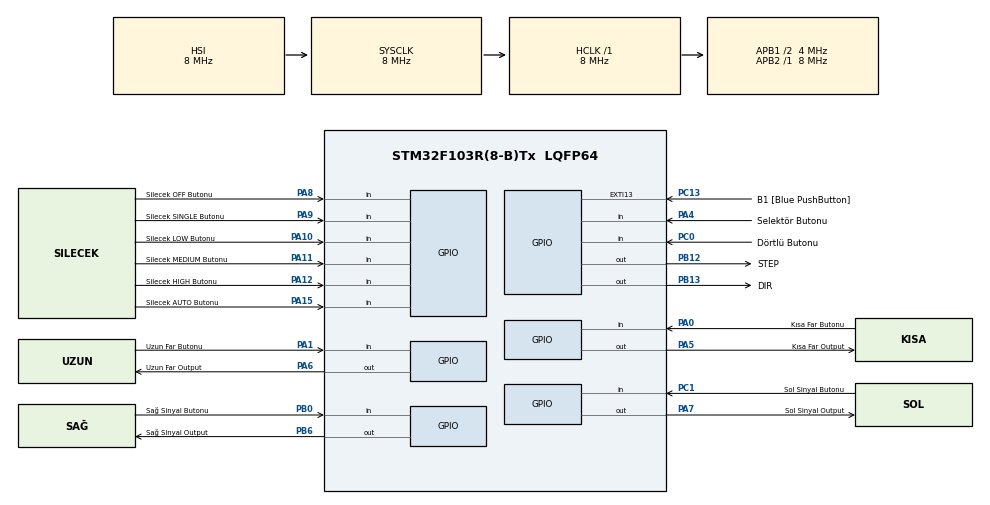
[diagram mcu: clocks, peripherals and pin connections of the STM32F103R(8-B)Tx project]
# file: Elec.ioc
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Mcu.Family=STM32F1
Mcu.Name=STM32F103R(8-B)Tx
Mcu.Package=LQFP64
NVIC.EXTI15_10_IRQn=true\:0\:0\:false\:false\:true\:true\:true\:true
NVIC.PriorityGroup=NVIC_PRIORITYGROUP_4
NVIC.TIM2_IRQn=true\:0\:0\:false\:false\:true\:true\:true\:true
PA0-WKUP.GPIO_Label=K\u0131sa Far Butonu
PA0-WKUP.GPIO_PuPd=GPIO_PULLUP
PA0-WKUP.Signal=GPIO_Input
PA1.GPIO_Label=Uzun Far Butonu
PA1.GPIO_PuPd=GPIO_PULLUP
PA1.Signal=GPIO_Input
PA10.GPIO_Label=Silecek LOW Butonu
PA10.GPIO_PuPd=GPIO_PULLUP
PA10.Signal=GPIO_Input
PA11.GPIO_Label=Silecek MEDIUM Butonu
PA11.GPIO_PuPd=GPIO_PULLUP
PA11.Signal=GPIO_Input
PA12.GPIO_Label=Silecek HIGH Butonu
PA12.GPIO_Mode=GPIO_MODE_INPUT
PA12.GPIO_PuPd=GPIO_PULLUP
PA12.Signal=GPIO_Input
PA13.GPIO_Label=TMS
PA13.Mode=Serial_Wire
PA13.Signal=SYS_JTMS-SWDIO
PA14.GPIO_Label=TCK
PA14.Mode=Serial_Wire
PA14.Signal=SYS_JTCK-SWCLK
PA15.GPIO_Label=Silecek AUTO Butonu
PA15.GPIO_PuPd=GPIO_PULLUP
PA15.Signal=GPIO_Input
PA4.GPIO_Label=Selekt\u00F6r Butonu
PA4.GPIO_PuPd=GPIO_PULLUP
PA4.Signal=GPIO_Input
PA5.GPIO_Label=K\u0131sa Far Output
PA5.GPIO_PuPd=GPIO_NOPULL
PA5.Signal=GPIO_Output
PA6.GPIO_Label=Uzun Far Output
PA6.Signal=GPIO_Output
PA7.GPIO_Label=Sol Sinyal Output
PA7.Signal=GPIO_Output
PA8.GPIO_Label=Silecek OFF Butonu
PA8.GPIO_PuPd=GPIO_PULLUP
PA8.Signal=GPIO_Input
PA9.GPIO_Label=Silecek SINGLE Butonu
PA9.GPIO_PuPd=GPIO_PULLUP
PA9.Signal=GPIO_Input
PB0.GPIO_Label=Sa\u011F Sinyal Butonu
PB0.GPIO_PuPd=GPIO_PULLUP
PB0.Signal=GPIO_Input
PB12.GPIO_Label=STEP
PB12.Signal=GPIO_Output
PB13.GPIO_Label=DIR
PB13.Signal=GPIO_Output
PB3.GPIO_Label=SWO
PB3.Signal=SYS_JTDO-TRACESWO
PB6.GPIO_Label=Sa\u011F Sinyal Output
PB6.Signal=GPIO_Output
PC0.GPIO_Label=D\u00F6rtl\u00FC Butonu
PC0.GPIO_PuPd=GPIO_PULLUP
PC0.Signal=GPIO_Input
PC1.GPIO_Label=Sol Sinyal Butonu
PC1.GPIO_PuPd=GPIO_PULLUP
PC1.Signal=GPIO_Input
PC13-TAMPER-RTC.GPIO_Label=B1 [Blue PushButton]
PC13-TAMPER-RTC.GPIO_PuPd=GPIO_NOPULL
PC13-TAMPER-RTC.Signal=GPXTI13
PC14-OSC32_IN.Signal=RCC_OSC32_IN
PC15-OSC32_OUT.Signal=RCC_OSC32_OUT
PD0-OSC_IN.Mode=HSE-External-Oscillator
PD0-OSC_IN.Signal=RCC_OSC_IN
PD1-OSC_OUT.Mode=HSE-External-Oscillator
PD1-OSC_OUT.Signal=RCC_OSC_OUT
ProjectManager.HeapSize=0x200
ProjectManager.StackSize=0x400
ProjectManager.TargetToolchain=STM32CubeIDE
RCC.AHBFreq_Value=8000000
RCC.APB1CLKDivider=RCC_HCLK_DIV2
RCC.APB1Freq_Value=4000000
RCC.APB1TimFreq_Value=8000000
RCC.APB2Freq_Value=8000000
RCC.APB2TimFreq_Value=8000000
RCC.HCLKFreq_Value=8000000
RCC.PLLMUL=RCC_PLL_MUL16
RCC.RTCClockSelection=RCC_RTCCLKSOURCE_LSE
RCC.SYSCLKFreq_VALUE=8000000
RCC.USBFreq_Value=64000000
TIM2.AutoReloadPreload=TIM_AUTORELOAD_PRELOAD_ENABLE
TIM2.Period=2999
TIM2.Prescaler=6399
VP_TIM2_VS_ClockSourceINT.Mode=Internal
board=NUCLEO-F103RB

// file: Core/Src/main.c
/* USER CODE BEGIN Header */
/**
  ******************************************************************************
  * @file           : main.c
  * @brief          : Main program body
  ******************************************************************************
  * @attention
  *
  * Copyright (c) 2026 STMicroelectronics.
  * All rights reserved.
  *
  * This software is licensed under terms that can be found in the LICENSE file
  * in the root directory of this software component.
  * If no LICENSE file comes with this software, it is provided AS-IS.
  *
  ******************************************************************************
  */
/* USER CODE END Header */
#include "main.h"

/* USER CODE BEGIN Includes */
#include <stdbool.h>
/* USER CODE END Includes */

/* USER CODE BEGIN PTD */
typedef enum {
    MODE_OFF,
    MODE_LOW,
    MODE_MEDIUM,
    MODE_HIGH,
    MODE_AUTO,
    MODE_SINGLE
} Mode;
/* USER CODE END PTD */

/* USER CODE BEGIN PD */
#define MAX_POSITION 1000

// Butonlar (LOW = basıldı)
#define BTN_OFF    (HAL_GPIO_ReadPin(Silecek_OFF_Butonu_GPIO_Port, Silecek_OFF_Butonu_Pin) == GPIO_PIN_RESET)
#define BTN_SINGLE (HAL_GPIO_ReadPin(Silecek_SINGLE_Butonu_GPIO_Port, Silecek_SINGLE_Butonu_Pin) == GPIO_PIN_RESET)
#define BTN_LOW    (HAL_GPIO_ReadPin(Silecek_LOW_Butonu_GPIO_Port, Silecek_LOW_Butonu_Pin) == GPIO_PIN_RESET)
#define BTN_MED    (HAL_GPIO_ReadPin(Silecek_MEDIUM_Butonu_GPIO_Port, Silecek_MEDIUM_Butonu_Pin) == GPIO_PIN_RESET)
#define BTN_HIGH   (HAL_GPIO_ReadPin(Silecek_HIGH_Butonu_GPIO_Port, Silecek_HIGH_Butonu_Pin) == GPIO_PIN_RESET)
#define BTN_AUTO   (HAL_GPIO_ReadPin(Silecek_AUTO_Butonu_GPIO_Port, Silecek_AUTO_Butonu_Pin) == GPIO_PIN_RESET)
/* USER CODE END PD */

TIM_HandleTypeDef htim2;

/* USER CODE BEGIN PV */

	// ===== FAR DURUMLARI =====
uint8_t A_KisaFar_F103_STS = 0;
uint8_t A_UzunFar_F103_STS = 0;

	// ===== SELEKTÖR =====
uint8_t A_Selektor_F103_STS = 0;

	// ===== SİNYAL SAYAÇLARI (INTERRUPT) =====
volatile uint8_t A_SolSinyalSayac_F103_VAL = 0;
volatile uint8_t A_SagSinyalSayac_F103_VAL = 0;
volatile uint8_t A_DortluSayac_F103_VAL    = 0;

	// ===== TIMER FLAG (SİNYAL SİSTEMİ)=====
volatile uint8_t A_SinyalTick_F103_TMP = 0;

	//========= SİLECEK SİSTEMİ ==============
Mode currentMode = MODE_OFF;
Mode requestedMode = MODE_OFF;

int position = 0;
int direction = 1;

bool pendingTransition = false;
bool singleActive = false;

/* USER CODE END PV */

void SystemClock_Config(void);
static void MX_GPIO_Init(void);
static void MX_TIM2_Init(void);

/* USER CODE BEGIN 0 */
	// ==========FONKSİYONLAR=============
	// ========  FAR SİSTEMİ =============
void A_KisaFar_F103_Ctrl(void)
{
    if (HAL_GPIO_ReadPin(K_sa_Far_Butonu_GPIO_Port,
                          K_sa_Far_Butonu_Pin) == GPIO_PIN_RESET)
    {
        HAL_Delay(20);

        if (HAL_GPIO_ReadPin(K_sa_Far_Butonu_GPIO_Port,
                              K_sa_Far_Butonu_Pin) == GPIO_PIN_RESET)
        {
            A_KisaFar_F103_STS ^= 1;

            A_UzunFar_F103_STS = 0;
            HAL_GPIO_WritePin(Uzun_Far_Output_GPIO_Port,
                              Uzun_Far_Output_Pin,
                              GPIO_PIN_RESET);

            HAL_GPIO_WritePin(K_sa_Far_Output_GPIO_Port,
                              K_sa_Far_Output_Pin,
                              A_KisaFar_F103_STS ? GPIO_PIN_SET : GPIO_PIN_RESET);

            while (HAL_GPIO_ReadPin(K_sa_Far_Butonu_GPIO_Port,
                                    K_sa_Far_Butonu_Pin) == GPIO_PIN_RESET);
        }
    }
}

void A_UzunFar_F103_Ctrl(void)
{
    if (HAL_GPIO_ReadPin(Uzun_Far_Butonu_GPIO_Port, Uzun_Far_Butonu_Pin) == GPIO_PIN_RESET)
    {
        HAL_Delay(20); // debounce

        if (HAL_GPIO_ReadPin(Uzun_Far_Butonu_GPIO_Port, Uzun_Far_Butonu_Pin) == GPIO_PIN_RESET)
        {
            /* Uzun far toggle */
            A_UzunFar_F103_STS ^= 1;

            /* SADECE uzun farı kontrol et */
            HAL_GPIO_WritePin(Uzun_Far_Output_GPIO_Port,
                              Uzun_Far_Output_Pin,
                              A_UzunFar_F103_STS ? GPIO_PIN_SET : GPIO_PIN_RESET);

            while (HAL_GPIO_ReadPin(Uzun_Far_Butonu_GPIO_Port,
                                    Uzun_Far_Butonu_Pin) == GPIO_PIN_RESET);
        }
    }
}

void A_SolSinyal_F103_Ctrl(void)
{
    if (HAL_GPIO_ReadPin(Sol_Sinyal_Butonu_GPIO_Port,
                          Sol_Sinyal_Butonu_Pin) == GPIO_PIN_RESET)
    {
        HAL_Delay(20);

        if (HAL_GPIO_ReadPin(Sol_Sinyal_Butonu_GPIO_Port,
                              Sol_Sinyal_Butonu_Pin) == GPIO_PIN_RESET)
        {
            /* Override */
            A_SagSinyalSayac_F103_VAL = 0;
            A_DortluSayac_F103_VAL    = 0;
            HAL_GPIO_WritePin(Sa__Sinyal_Output_GPIO_Port,
                              Sa__Sinyal_Output_Pin,
                              GPIO_PIN_RESET);

            /* 5 kez yanıp sön = 10 toggle */
            A_SolSinyalSayac_F103_VAL = 10;

            while (HAL_GPIO_ReadPin(Sol_Sinyal_Butonu_GPIO_Port,
                                    Sol_Sinyal_Butonu_Pin) == GPIO_PIN_RESET);
        }
    }
}
void A_SagSinyal_F103_Ctrl(void)
{
    if (HAL_GPIO_ReadPin(Sa__Sinyal_Butonu_GPIO_Port,
                          Sa__Sinyal_Butonu_Pin) == GPIO_PIN_RESET)
    {
        HAL_Delay(20); // debounce

        if (HAL_GPIO_ReadPin(Sa__Sinyal_Butonu_GPIO_Port,
                              Sa__Sinyal_Butonu_Pin) == GPIO_PIN_RESET)
        {
            /* Override diğer sinyaller */
            A_SolSinyalSayac_F103_VAL = 0;
            A_DortluSayac_F103_VAL   = 0;

            HAL_GPIO_WritePin(Sol_Sinyal_Output_GPIO_Port,
                              Sol_Sinyal_Output_Pin,
                              GPIO_PIN_RESET);

            /* 5 kez yanıp sönme = 10 toggle */
            A_SagSinyalSayac_F103_VAL = 10;

            /* Buton bırakılana kadar bekle */
            while (HAL_GPIO_ReadPin(Sa__Sinyal_Butonu_GPIO_Port,
                                    Sa__Sinyal_Butonu_Pin) == GPIO_PIN_RESET);
        }
    }
}
void A_Dortlu_F103_Ctrl(void)
{
    if (HAL_GPIO_ReadPin(D_rtl__Butonu_GPIO_Port,
                          D_rtl__Butonu_Pin) == GPIO_PIN_RESET)
    {
        HAL_Delay(20); // debounce

        if (HAL_GPIO_ReadPin(D_rtl__Butonu_GPIO_Port,
                              D_rtl__Butonu_Pin) == GPIO_PIN_RESET)
        {
            /* Override sağ ve sol sinyal */
            A_SolSinyalSayac_F103_VAL = 0;
            A_SagSinyalSayac_F103_VAL = 0;

            /* 5 kez yanıp sönme = 10 toggle */
            A_DortluSayac_F103_VAL = 10;

            /* Buton bırakılana kadar bekle */
            while (HAL_GPIO_ReadPin(D_rtl__Butonu_GPIO_Port,
                                    D_rtl__Butonu_Pin) == GPIO_PIN_RESET);
        }
    }
}
void A_SinyalTickIsle_F103(void)
{
    if (!A_SinyalTick_F103_TMP) return;
    A_SinyalTick_F103_TMP = 0;

    if (A_DortluSayac_F103_VAL > 0)
    {
        HAL_GPIO_TogglePin(Sol_Sinyal_Output_GPIO_Port, Sol_Sinyal_Output_Pin);
        HAL_GPIO_TogglePin(Sa__Sinyal_Output_GPIO_Port, Sa__Sinyal_Output_Pin);
        A_DortluSayac_F103_VAL--;
    }
    else
    {
        if (A_SolSinyalSayac_F103_VAL > 0)
        {
            HAL_GPIO_TogglePin(Sol_Sinyal_Output_GPIO_Port, Sol_Sinyal_Output_Pin);
            A_SolSinyalSayac_F103_VAL--;
        }
        else
        {
            HAL_GPIO_WritePin(Sol_Sinyal_Output_GPIO_Port, Sol_Sinyal_Output_Pin, GPIO_PIN_RESET);
        }

        if (A_SagSinyalSayac_F103_VAL > 0)
        {
            HAL_GPIO_TogglePin(Sa__Sinyal_Output_GPIO_Port, Sa__Sinyal_Output_Pin);
            A_SagSinyalSayac_F103_VAL--;
        }
        else
        {
            HAL_GPIO_WritePin(Sa__Sinyal_Output_GPIO_Port, Sa__Sinyal_Output_Pin, GPIO_PIN_RESET);
        }
    }
}

void A_Selektor_F103_Ctrl(void)
{
    /* Uzun far butonla sabit açıksa, selektör devre dışı */
    if (A_UzunFar_F103_STS)
        return;

    /* Selektör basılı mı? (Pull-up, basınca RESET) */
    if (HAL_GPIO_ReadPin(Selekt_r_Butonu_GPIO_Port, Selekt_r_Butonu_Pin) == GPIO_PIN_RESET)
    {
        /* Uzun farı yak, kısa far ne durumdaysa kalsın */
        HAL_GPIO_WritePin(Uzun_Far_Output_GPIO_Port, Uzun_Far_Output_Pin, GPIO_PIN_SET);
        A_Selektor_F103_STS = 1;
    }
    else
    {
        /* Bırakıldıysa uzun farı kapat */
        if (A_Selektor_F103_STS)
        {
            HAL_GPIO_WritePin(Uzun_Far_Output_GPIO_Port, Uzun_Far_Output_Pin, GPIO_PIN_RESET);
            A_Selektor_F103_STS = 0;
        }
    }
}

/* USER CODE END 0 */

int main(void)
{

  /* MCU Configuration--------------------------------------------------------*/

  /* Reset of all peripherals, Initializes the Flash interface and the Systick. */
  HAL_Init();

  /* Configure the system clock */
  SystemClock_Config();

  /* Initialize all configured peripherals */
  MX_GPIO_Init();
  MX_TIM2_Init();
  /* USER CODE BEGIN 2 */
  HAL_TIM_Base_Start_IT(&htim2);
  /* USER CODE END 2 */

  /* Infinite loop */
  while (1)
  {
	  A_KisaFar_F103_Ctrl();
	  A_UzunFar_F103_Ctrl();
	  /* ===== SELEKTÖR ===== */
	  A_Selektor_F103_Ctrl();
	  /* ===== SİNYALLER ===== */
	  A_SolSinyal_F103_Ctrl();
	  A_SagSinyal_F103_Ctrl();
	  A_Dortlu_F103_Ctrl();
	  // ===== SİLECEK =====
	  handle_buttons();
	  motor_task();
  }
}

void SystemClock_Config(void)
{
  RCC_OscInitTypeDef RCC_OscInitStruct = {0};
  RCC_ClkInitTypeDef RCC_ClkInitStruct = {0};

  /** Initializes the RCC Oscillators according to the specified parameters
  * in the RCC_OscInitTypeDef structure.
  */
  RCC_OscInitStruct.OscillatorType = RCC_OSCILLATORTYPE_HSI;
  RCC_OscInitStruct.HSIState = RCC_HSI_ON;
  RCC_OscInitStruct.HSICalibrationValue = RCC_HSICALIBRATION_DEFAULT;
  RCC_OscInitStruct.PLL.PLLState = RCC_PLL_NONE;
  if (HAL_RCC_OscConfig(&RCC_OscInitStruct) != HAL_OK)
  {
    Error_Handler();
  }

  /** Initializes the CPU, AHB and APB buses clocks
  */
  RCC_ClkInitStruct.ClockType = RCC_CLOCKTYPE_HCLK|RCC_CLOCKTYPE_SYSCLK
                              |RCC_CLOCKTYPE_PCLK1|RCC_CLOCKTYPE_PCLK2;
  RCC_ClkInitStruct.SYSCLKSource = RCC_SYSCLKSOURCE_HSI;
  RCC_ClkInitStruct.AHBCLKDivider = RCC_SYSCLK_DIV1;
  RCC_ClkInitStruct.APB1CLKDivider = RCC_HCLK_DIV2;
  RCC_ClkInitStruct.APB2CLKDivider = RCC_HCLK_DIV1;

  if (HAL_RCC_ClockConfig(&RCC_ClkInitStruct, FLASH_LATENCY_0) != HAL_OK)
  {
    Error_Handler();
  }
}

static void MX_TIM2_Init(void)
{

  TIM_ClockConfigTypeDef sClockSourceConfig = {0};
  TIM_MasterConfigTypeDef sMasterConfig = {0};

  htim2.Instance = TIM2;
  htim2.Init.Prescaler = 6399;
  htim2.Init.CounterMode = TIM_COUNTERMODE_UP;
  htim2.Init.Period = 2999;
  htim2.Init.ClockDivision = TIM_CLOCKDIVISION_DIV1;
  htim2.Init.AutoReloadPreload = TIM_AUTORELOAD_PRELOAD_ENABLE;
  if (HAL_TIM_Base_Init(&htim2) != HAL_OK)
  {
    Error_Handler();
  }
  sClockSourceConfig.ClockSource = TIM_CLOCKSOURCE_INTERNAL;
  if (HAL_TIM_ConfigClockSource(&htim2, &sClockSourceConfig) != HAL_OK)
  {
    Error_Handler();
  }
  sMasterConfig.MasterOutputTrigger = TIM_TRGO_RESET;
  sMasterConfig.MasterSlaveMode = TIM_MASTERSLAVEMODE_DISABLE;
  if (HAL_TIMEx_MasterConfigSynchronization(&htim2, &sMasterConfig) != HAL_OK)
  {
    Error_Handler();
  }

}

static void MX_GPIO_Init(void)
{
  GPIO_InitTypeDef GPIO_InitStruct = {0};

  /* GPIO Ports Clock Enable */
  __HAL_RCC_GPIOC_CLK_ENABLE();
  __HAL_RCC_GPIOD_CLK_ENABLE();
  __HAL_RCC_GPIOA_CLK_ENABLE();
  __HAL_RCC_GPIOB_CLK_ENABLE();

  /*Configure GPIO pin Output Level */
  HAL_GPIO_WritePin(GPIOA, K_sa_Far_Output_Pin|Uzun_Far_Output_Pin|Sol_Sinyal_Output_Pin, GPIO_PIN_RESET);

  /*Configure GPIO pin Output Level */
  HAL_GPIO_WritePin(GPIOB, STEP_Pin|DIR_Pin|Sa__Sinyal_Output_Pin, GPIO_PIN_RESET);

  /*Configure GPIO pin : B1_Pin */
  GPIO_InitStruct.Pin = B1_Pin;
  GPIO_InitStruct.Mode = GPIO_MODE_IT_RISING;
  GPIO_InitStruct.Pull = GPIO_NOPULL;
  HAL_GPIO_Init(B1_GPIO_Port, &GPIO_InitStruct);

  /*Configure GPIO pins : D_rtl__Butonu_Pin Sol_Sinyal_Butonu_Pin */
  GPIO_InitStruct.Pin = D_rtl__Butonu_Pin|Sol_Sinyal_Butonu_Pin;
  GPIO_InitStruct.Mode = GPIO_MODE_INPUT;
  GPIO_InitStruct.Pull = GPIO_PULLUP;
  HAL_GPIO_Init(GPIOC, &GPIO_InitStruct);

  /*Configure GPIO pins : K_sa_Far_Butonu_Pin Uzun_Far_Butonu_Pin Selekt_r_Butonu_Pin Silecek_OFF_Butonu_Pin
                           Silecek_SINGLE_Butonu_Pin Silecek_LOW_Butonu_Pin Silecek_MEDIUM_Butonu_Pin Silecek_HIGH_Butonu_Pin
                           Silecek_AUTO_Butonu_Pin */
  GPIO_InitStruct.Pin = K_sa_Far_Butonu_Pin|Uzun_Far_Butonu_Pin|Selekt_r_Butonu_Pin|Silecek_OFF_Butonu_Pin
                          |Silecek_SINGLE_Butonu_Pin|Silecek_LOW_Butonu_Pin|Silecek_MEDIUM_Butonu_Pin|Silecek_HIGH_Butonu_Pin
                          |Silecek_AUTO_Butonu_Pin;
  GPIO_InitStruct.Mode = GPIO_MODE_INPUT;
  GPIO_InitStruct.Pull = GPIO_PULLUP;
  HAL_GPIO_Init(GPIOA, &GPIO_InitStruct);

  /*Configure GPIO pins : K_sa_Far_Output_Pin Uzun_Far_Output_Pin Sol_Sinyal_Output_Pin */
  GPIO_InitStruct.Pin = K_sa_Far_Output_Pin|Uzun_Far_Output_Pin|Sol_Sinyal_Output_Pin;
  GPIO_InitStruct.Mode = GPIO_MODE_OUTPUT_PP;
  GPIO_InitStruct.Pull = GPIO_NOPULL;
  GPIO_InitStruct.Speed = GPIO_SPEED_FREQ_LOW;
  HAL_GPIO_Init(GPIOA, &GPIO_InitStruct);

  /*Configure GPIO pin : Sa__Sinyal_Butonu_Pin */
  GPIO_InitStruct.Pin = Sa__Sinyal_Butonu_Pin;
  GPIO_InitStruct.Mode = GPIO_MODE_INPUT;
  GPIO_InitStruct.Pull = GPIO_PULLUP;
  HAL_GPIO_Init(Sa__Sinyal_Butonu_GPIO_Port, &GPIO_InitStruct);

  /*Configure GPIO pins : STEP_Pin DIR_Pin Sa__Sinyal_Output_Pin */
  GPIO_InitStruct.Pin = STEP_Pin|DIR_Pin|Sa__Sinyal_Output_Pin;
  GPIO_InitStruct.Mode = GPIO_MODE_OUTPUT_PP;
  GPIO_InitStruct.Pull = GPIO_NOPULL;
  GPIO_InitStruct.Speed = GPIO_SPEED_FREQ_LOW;
  HAL_GPIO_Init(GPIOB, &GPIO_InitStruct);

  /* EXTI interrupt init*/
  HAL_NVIC_SetPriority(EXTI15_10_IRQn, 0, 0);
  HAL_NVIC_EnableIRQ(EXTI15_10_IRQn);

}

/* USER CODE BEGIN 4 */
void HAL_TIM_PeriodElapsedCallback(TIM_HandleTypeDef *htim)
{
    if (htim->Instance == TIM2)
    {
    	A_SinyalTick_F103_TMP = 1;
    }
}

// ======= SİLECEK SİSTEMİ============

uint32_t get_delay()
{
    switch(currentMode)
    {
        case MODE_LOW:    return 5;   // yavaş
        case MODE_MEDIUM: return 3;   // orta
        case MODE_HIGH:   return 1;   // hızlı
        case MODE_AUTO:   return 3;   // şimdilik MEDIUM
        default: return 0;
    }
}

void handle_buttons()
{
    if(BTN_LOW) {
        currentMode = MODE_LOW;
        pendingTransition = false;
    }
    else if(BTN_MED) {
        currentMode = MODE_MEDIUM;
        pendingTransition = false;
    }
    else if(BTN_HIGH) {
        currentMode = MODE_HIGH;
        pendingTransition = false;
    }
    else if(BTN_OFF) {
        requestedMode = MODE_OFF;
        pendingTransition = true;
    }
    else if(BTN_AUTO) {
        requestedMode = MODE_AUTO;
        pendingTransition = true;
    }
    else if(BTN_SINGLE) {
        requestedMode = MODE_SINGLE;
        pendingTransition = true;
    }
}

void apply_transition_if_ready()
{
    if(pendingTransition && position == 0 && direction == -1)
    {
        pendingTransition = false;

        if(requestedMode == MODE_OFF)
        {
            currentMode = MODE_OFF;
        }
        else if(requestedMode == MODE_AUTO)
        {
            currentMode = MODE_AUTO;
        }
        else if(requestedMode == MODE_SINGLE)
        {
            currentMode = MODE_SINGLE;
            singleActive = true;
            direction = 1;
        }
    }
}

void check_single_done()
{
    if(currentMode == MODE_SINGLE && singleActive)
    {
        if(position == 0 && direction == -1)
        {
            currentMode = MODE_OFF;
            singleActive = false;
        }
    }
}

void motor_task()
{
    if(currentMode == MODE_OFF)
    {
        return;
    }

    if(position >= MAX_POSITION)
    {
        position = MAX_POSITION;
        direction = -1;
    }
    else if(position <= 0)
    {
        position = 0;
        direction = 1;
    }

    // YÖN AYARI
    HAL_GPIO_WritePin(DIR_GPIO_Port, DIR_Pin,
        (direction == 1) ? GPIO_PIN_SET : GPIO_PIN_RESET);

    // STEP PULSE
    HAL_GPIO_WritePin(STEP_GPIO_Port, STEP_Pin, GPIO_PIN_SET);
    HAL_Delay(1);
    HAL_GPIO_WritePin(STEP_GPIO_Port, STEP_Pin, GPIO_PIN_RESET);
    HAL_Delay(1);

    if(direction == 1) position++;
    else position--;

    apply_transition_if_ready();
    check_single_done();

    HAL_Delay(get_delay());
}

/* USER CODE END 4 */

void Error_Handler(void)
{
  __disable_irq();
  while (1)
  {
  }
}
